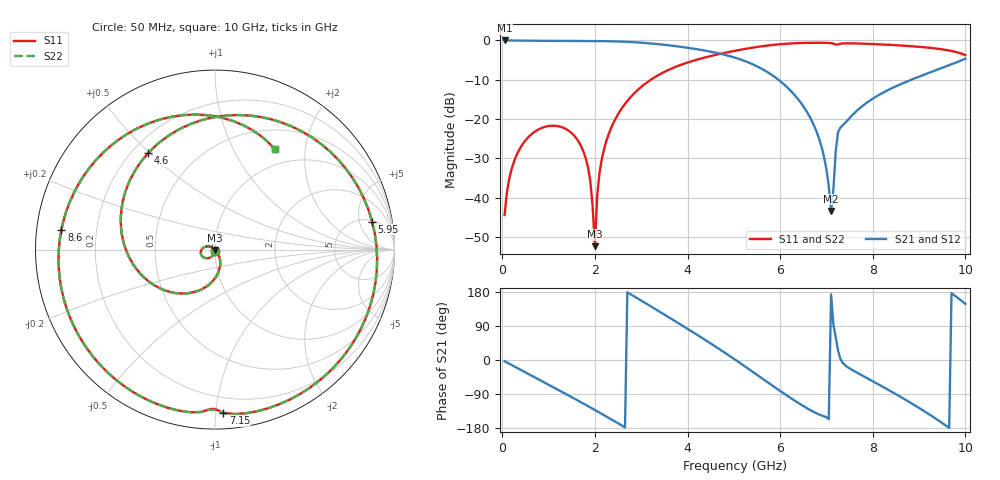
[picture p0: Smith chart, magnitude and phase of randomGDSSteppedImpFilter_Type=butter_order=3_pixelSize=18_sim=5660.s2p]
! freq	dB(S11)	phase(S11)	dB(S12)	phase(S12)
!  dB(S21)	phase(S21)	dB(S22)	phase(S22)
!S-par simulation data
#  GHz  S  DB  R 50
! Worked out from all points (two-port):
!   200 points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, 50 MHz to 10 GHz, reference 50 ohm
!   highest |S21| = -0.01 dB at 50 MHz (marker M1); lowest = -43.4 dB at 7.1 GHz (marker M2)
!   |S21| within 3 dB of the highest: start of sweep to 4.56 GHz
!   lowest |S11| = -52.4 dB at 2 GHz (marker M3), VSWR 1.00, Z = 50 - j0.241 ohm
!   |S11| at or under -10 dB: start of sweep to 3.207 GHz
!   |S22| runs from -52.7 to -0.6 dB; largest |S21 - S12| = 0
!   S11 on the Smith chart (normalised r, x): 50 MHz: 1.00, -0.01; 4.6 GHz: 0.26, +0.49; 5.95 GHz: 5.23, +7.83; 7.15 GHz: 0.10, -1.05; 8.6 GHz: 0.07, +0.06; 10 GHz: 0.76, +1.47
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0.05  -44.44 -89.1  -0.01 -3.3  -0.01 -3.3  -44.44 -89.1
0.25  -30.91 -105.7  -0.03 -16.4  -0.03 -16.4  -30.91 -105.7
0.65  -23.67 -132.8  -0.08 -42.5  -0.08 -42.5  -23.67 -132.9
1.75  -28.20 155.2  -0.14 -114.9  -0.14 -114.9  -28.21 153.8
1.9  -35.72 146.6  -0.15 -125.1  -0.15 -125.1  -35.74 142.8
2  -52.35 -92.0  -0.16 -131.9  -0.16 -131.9  -52.74 -0.5
2.1  -33.67 -52.3  -0.17 -138.8  -0.17 -138.8  -33.67 -48.6
2.3  -23.75 -64.7  -0.21 -152.8  -0.21 -152.8  -23.74 -63.3
3.4  -8.62 -143.8  -0.98 127.2  -0.98 127.2  -8.62 -143.4
3.95  -5.82 175.2  -1.78 86.1  -1.78 86.1  -5.82 175.5
4.6  -3.69 124.8  -3.10 35.8  -3.10 35.8  -3.69 125.0
5.05  -2.57 87.9  -4.48 -0.9  -4.48 -0.9  -2.58 88.0
5.95  -1.02 10.1  -9.89 -77.5  -9.89 -77.5  -1.02 10.0
6.7  -0.60 -52.0  -20.86 -135.5  -20.86 -135.5  -0.60 -52.2
6.95  -0.61 -71.4  -29.78 -148.7  -29.78 -148.7  -0.61 -71.6
7.1  -0.70 -83.1  -43.41 173.1  -43.41 173.1  -0.69 -83.2
7.15  -0.82 -87.0  -37.89 93.2  -37.89 93.2  -0.79 -87.1
7.3  -0.84 -94.8  -22.19 3.1  -22.19 3.1  -0.82 -95.3
8.35  -1.11 -169.4  -12.51 -79.8  -12.51 -79.8  -1.11 -169.7
8.6  -1.28 172.7  -11.15 -97.3  -11.15 -97.3  -1.28 172.5
9.4  -2.11 111.7  -7.42 -158.0  -7.42 -158.0  -2.11 111.5
10  -3.72 59.4  -4.65 148.0  -4.65 148.0  -3.71 59.4
